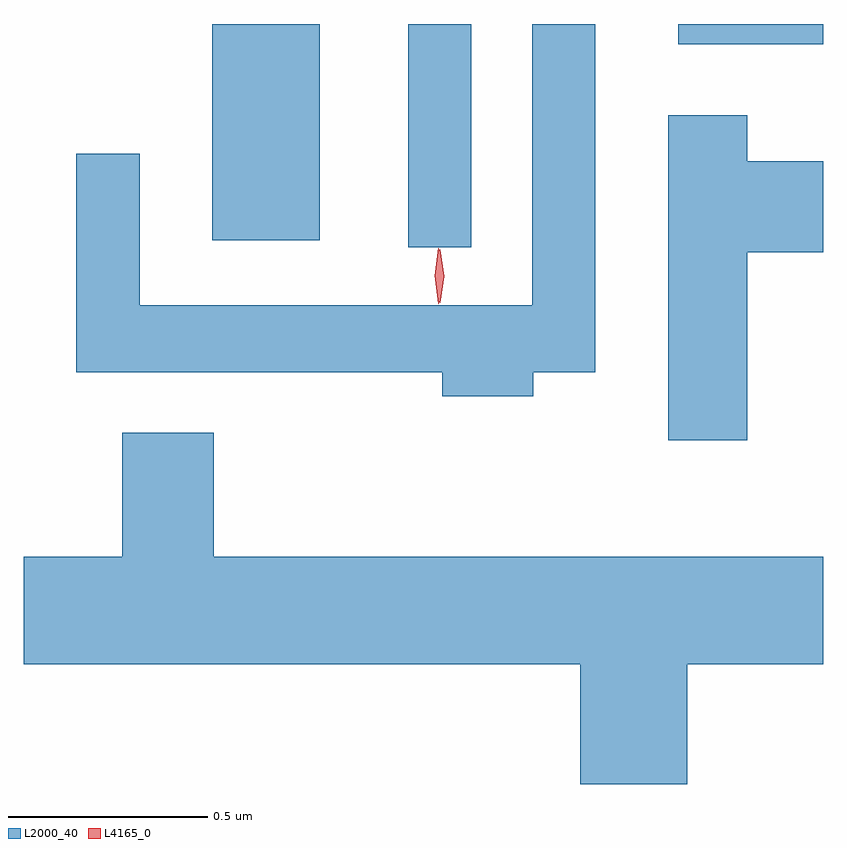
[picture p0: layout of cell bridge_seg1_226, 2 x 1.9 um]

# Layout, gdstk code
import gdstk
lib = gdstk.Library(unit=1e-6, precision=1e-09)
def R(c, l, rs):  # rectangles x0, y0, x1, y1
    for r in rs: c.add(gdstk.rectangle(r[:2], r[2:], *l))
def P(c, l, *ps):  # polygons
    for p in ps: c.add(gdstk.Polygon(p, *l))
L2000_40 = (2000, 40)
L4165_0 = (4165, 0)

bridge_seg1_226 = lib.new_cell('bridge_seg1_226')
R(bridge_seg1_226, L2000_40, [(834.026,873.978,834.184,874.537), (833.536,873.996,833.804,874.537), (834.701,874.486,835.064,874.537)])
P(bridge_seg1_226, L2000_40, [(834.339,873.666),(834.494,873.666),(834.494,874.537),(834.336,874.537),(834.336,873.834),(833.354,873.834),(833.354,874.213),(833.196,874.213),(833.196,873.666),(834.111,873.666),(834.111,873.606),(834.339,873.606)],
  [(834.874,873.966),(835.064,873.966),(835.064,874.194),(834.874,874.194),(834.874,874.309),(834.676,874.309),(834.676,873.496),(834.874,873.496)],
  [(834.724,872.936),(835.064,872.936),(835.064,873.204),(833.539,873.204),(833.539,873.514),(833.311,873.514),(833.311,873.204),(833.064,873.204),(833.064,872.936),(834.456,872.936),(834.456,872.636),(834.724,872.636)])
P(bridge_seg1_226, L4165_0, [(834.101,873.837),(834.092,873.907),(834.101,873.976),(834.102,873.976),(834.102,873.976),(834.112,873.907),(834.102,873.837),(834.102,873.837)],
  [(834.105,873.84),(834.096,873.906),(834.105,873.972),(834.105,873.973),(834.106,873.972),(834.116,873.906),(834.106,873.84),(834.106,873.84)])

lib.write_gds('bridge_seg1_226.gds')
